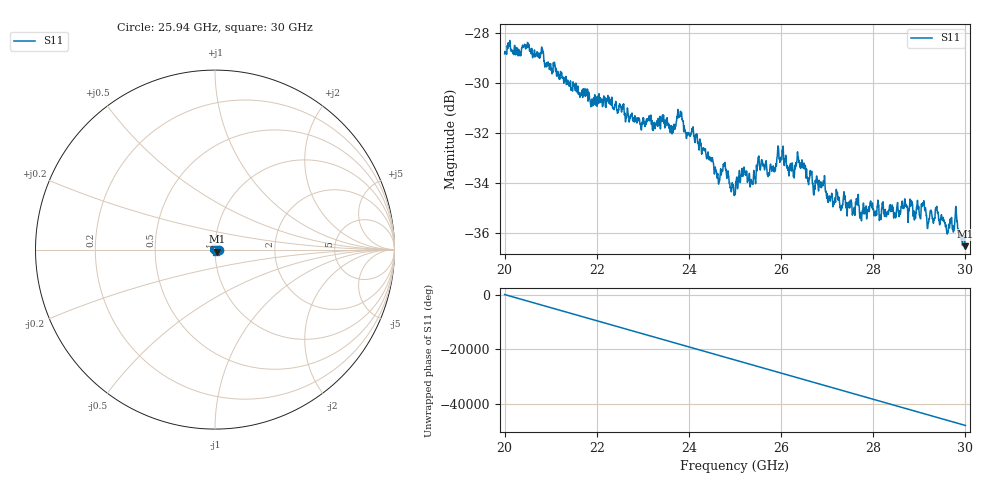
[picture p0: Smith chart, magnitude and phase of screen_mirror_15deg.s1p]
#  HZ  S  RI  R  50.00
! Rohde & Schwarz ZVA40 4Ports - Version 3.90 - 1145.1110k42 SN: 100403
! Date: 2023-10-03 12:15:58
! Measurement: S12
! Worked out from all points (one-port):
!   5001 points, 20 GHz to 30 GHz, reference 50 ohm
!   lowest |S11| = -36.5 dB at 29.99 GHz (marker M1), VSWR 1.03, Z = 51 - j1.13 ohm
!   |S11| at or under -10 dB: start of sweep to end of sweep
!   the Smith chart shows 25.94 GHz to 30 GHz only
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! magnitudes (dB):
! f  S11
! 20 GHz  -28.8
! 20.48 GHz  -28.5
! 21.25 GHz  -29.8
! 21.9 GHz  -30.6
! 22.5 GHz  -30.9
! 23.62 GHz  -31.8
! 23.75 GHz  -31.4
! 24.13 GHz  -32.4
! 24.63 GHz  -33.7
! 24.77 GHz  -33.3
! 25 GHz  -34.5
! 25.18 GHz  -33.6
! 25.4 GHz  -33.6
! 25.54 GHz  -33.5
! 25.84 GHz  -33.5
! 25.96 GHz  -33.0
! 26.25 GHz  -33.4
! 26.39 GHz  -33.1
! 27.03 GHz  -34.6
! 27.5 GHz  -34.7
! 28.75 GHz  -35.4
! 29.09 GHz  -34.8
! 29.18 GHz  -35.8
! 29.38 GHz  -35.0
! 29.61 GHz  -36.0
! 29.8 GHz  -35.2
! 29.99 GHz  -36.5
! 30 GHz  -36.5
